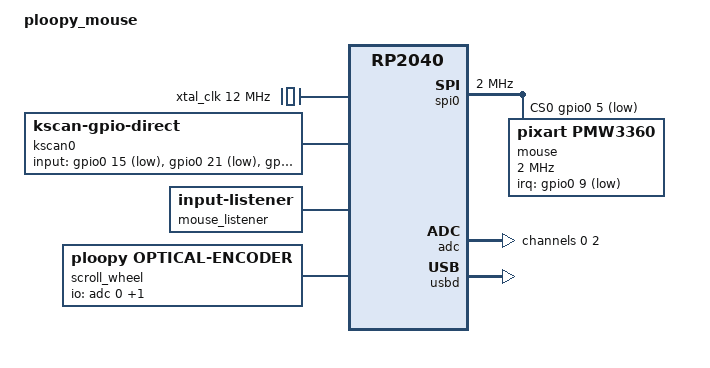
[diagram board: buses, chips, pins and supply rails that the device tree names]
/*
 * Copyright (c) 2025, George Norton
 * SPDX-License-Identifier: MIT
 */

/dts-v1/;

#include <rpi_pico/rp2040.dtsi>
#include "ploopy_mouse-pinctrl.dtsi"
#include <dt-bindings/zmk/matrix_transform.h>
#include <freq.h>

/ {
    model = "ploopy_mouse";
    compatible = "ploopy_mouse", "raspberrypi,rp2040";

    chosen {
        zephyr,sram = &sram0;
        zephyr,flash = &flash0;
        zephyr,console = &cdc_acm_uart;
        zephyr,code-partition = &code_partition;
        zmk,kscan = &kscan0;
        // for logging, if needed
        zephyr,console = &cdc_acm_uart;
    };

    xtal_clk: xtal-clk {
        compatible = "fixed-clock";
        clock-frequency = <12000000>;
        #clock-cells = <0>;
    };

    kscan0: kscan_0 {
        compatible = "zmk,kscan-gpio-direct";
        input-gpios
            = <&gpio0 15 (GPIO_ACTIVE_LOW | GPIO_PULL_UP)>
            , <&gpio0 21 (GPIO_ACTIVE_LOW | GPIO_PULL_UP)>
            , <&gpio0 23 (GPIO_ACTIVE_LOW | GPIO_PULL_UP)>
            , <&gpio0 17 (GPIO_ACTIVE_LOW | GPIO_PULL_UP)>
            , <&gpio0 19 (GPIO_ACTIVE_LOW | GPIO_PULL_UP)>
            , <&gpio0 22 (GPIO_ACTIVE_LOW | GPIO_PULL_UP)>
            , <&gpio0 14 (GPIO_ACTIVE_LOW | GPIO_PULL_UP)>
            , <&gpio0 24 (GPIO_ACTIVE_LOW | GPIO_PULL_UP)>
            ;
    };
};

#define PLOOPY_MOUSE_FLASH_SIZE_M 16

&flash0 {
    /* 8MB of flash minus the 0x100 used for
     * the second stage bootloader
     */
    reg = <0x10000000 DT_SIZE_M(PLOOPY_MOUSE_FLASH_SIZE_M)>;

    partitions {
        compatible = "fixed-partitions";
        #address-cells = <1>;
        #size-cells = <1>;

        /* Reserved memory for the second stage bootloader */
        second_stage_bootloader: partition@0 {
            reg = <0x00000000 0x100>;
            read-only;
        };

        /*
         * Start at the beginning of usable flash, PLOOPY_MOUSE_FLASH_SIZE_M MB minus the
         * second stage space and the 16 KiB reserved for settings
         */
        code_partition: partition@100 {
            label = "code";
            reg = <0x100 (DT_SIZE_M(PLOOPY_MOUSE_FLASH_SIZE_M) - 0x100)>;
            read-only;
        };
    };
};

&spi0 {
    pinctrl-0 = <&spi0_default>;
    pinctrl-names = "default";
    status = "okay";
    cs-gpios = <&gpio0 5 GPIO_ACTIVE_LOW>;
    clock-frequency = <DT_FREQ_M(2)>;
    mouse: mouse@0 {
        compatible = "pixart,pmw3360";
        status = "okay";
        reg = <0>;
        spi-max-frequency = <DT_FREQ_M(2)>;

        // pmw3360 driver parameters
        irq-gpios = <&gpio0 9 (GPIO_ACTIVE_LOW | GPIO_PULL_UP)>;
        cpi = <1200>;
        rotate-180;
    };
};

/ {
    mouse_listener {
        compatible = "zmk,input-listener";
        device = <&mouse>;
    };
};

&gpio0 {
    status = "okay";
    gpio-reserved-ranges = < 1 3 4 6 8 10 11 16 18 20 25 27 29 >;
};

&adc {
    #address-cells = <1>;
    #size-cells = <0>;
    status = "okay";
    pinctrl-0 = <&adc_default>;
    pinctrl-names = "default";

    channel@0 {
        reg = <0>;
        zephyr,gain = "ADC_GAIN_1";
        zephyr,reference = "ADC_REF_INTERNAL";
        zephyr,acquisition-time = <ADC_ACQ_TIME_DEFAULT>;
        zephyr,resolution = <12>;
    };

    channel@2 {
        reg = <2>;
        zephyr,gain = "ADC_GAIN_1";
        zephyr,reference = "ADC_REF_INTERNAL";
        zephyr,acquisition-time = <ADC_ACQ_TIME_DEFAULT>;
        zephyr,resolution = <12>;
    };
};

/ {
    scroll_wheel: scroll_wheel {
        compatible = "ploopy,optical-encoder";
        status = "okay";
        poll-period = <10>;
        event-startup-delay = <1000>;
        steps = <28>;
        io-channels = <&adc 0>, <&adc 2>;
    };

    sensors: sensors {
        compatible = "zmk,keymap-sensors";
        sensors = <&scroll_wheel>;
        triggers-per-rotation = <14>;
    };
};

// for logging, if needed
&usbd {
    status = "okay";
    cdc_acm_uart: cdc_acm_uart {
        compatible = "zephyr,cdc-acm-uart";
    };
};

&vreg {
    regulator-always-on;
    regulator-allowed-modes = <REGULATOR_RPI_PICO_MODE_NORMAL>;
};
